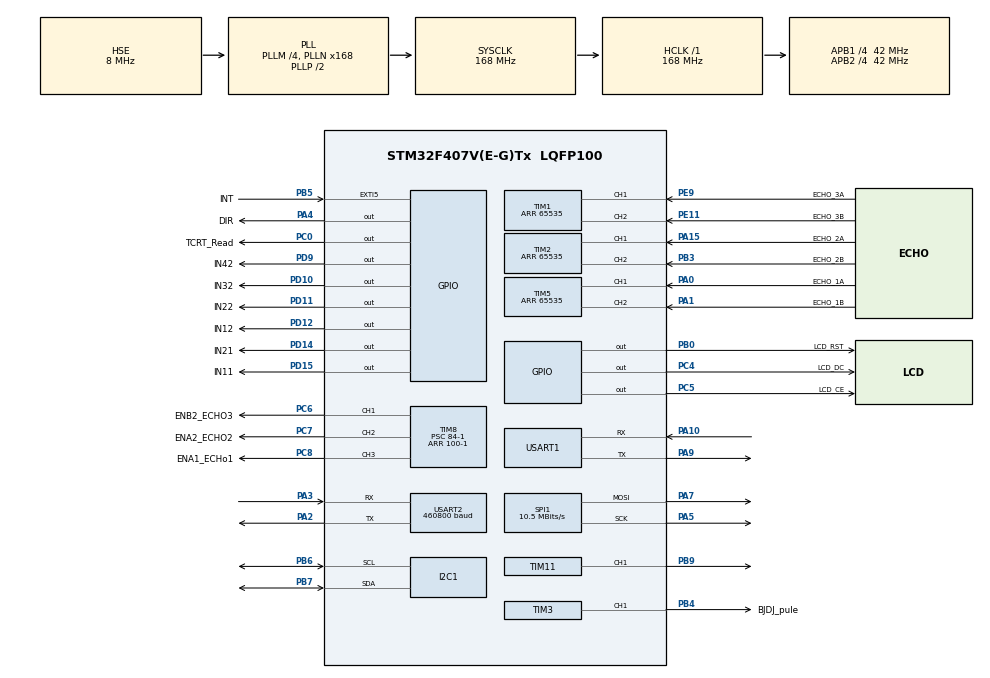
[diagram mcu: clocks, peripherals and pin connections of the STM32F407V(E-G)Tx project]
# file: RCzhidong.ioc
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Dma.Request0=SPI1_TX
Dma.Request1=USART2_RX
Dma.Request2=USART2_TX
Dma.SPI1_TX.0.Direction=DMA_MEMORY_TO_PERIPH
Dma.SPI1_TX.0.FIFOMode=DMA_FIFOMODE_DISABLE
Dma.SPI1_TX.0.Instance=DMA2_Stream3
Dma.SPI1_TX.0.MemDataAlignment=DMA_MDATAALIGN_BYTE
Dma.SPI1_TX.0.MemInc=DMA_MINC_ENABLE
Dma.SPI1_TX.0.Mode=DMA_NORMAL
Dma.SPI1_TX.0.PeriphDataAlignment=DMA_PDATAALIGN_BYTE
Dma.SPI1_TX.0.PeriphInc=DMA_PINC_DISABLE
Dma.SPI1_TX.0.Priority=DMA_PRIORITY_HIGH
Dma.USART2_RX.1.Direction=DMA_PERIPH_TO_MEMORY
Dma.USART2_RX.1.FIFOMode=DMA_FIFOMODE_DISABLE
Dma.USART2_RX.1.Instance=DMA1_Stream5
Dma.USART2_RX.1.MemDataAlignment=DMA_MDATAALIGN_BYTE
Dma.USART2_RX.1.MemInc=DMA_MINC_ENABLE
Dma.USART2_RX.1.Mode=DMA_CIRCULAR
Dma.USART2_RX.1.PeriphDataAlignment=DMA_PDATAALIGN_BYTE
Dma.USART2_RX.1.PeriphInc=DMA_PINC_DISABLE
Dma.USART2_RX.1.Priority=DMA_PRIORITY_HIGH
Dma.USART2_TX.2.Direction=DMA_MEMORY_TO_PERIPH
Dma.USART2_TX.2.FIFOMode=DMA_FIFOMODE_DISABLE
Dma.USART2_TX.2.Instance=DMA1_Stream6
Dma.USART2_TX.2.MemDataAlignment=DMA_MDATAALIGN_BYTE
Dma.USART2_TX.2.MemInc=DMA_MINC_ENABLE
Dma.USART2_TX.2.Mode=DMA_NORMAL
Dma.USART2_TX.2.PeriphDataAlignment=DMA_PDATAALIGN_BYTE
Dma.USART2_TX.2.PeriphInc=DMA_PINC_DISABLE
Dma.USART2_TX.2.Priority=DMA_PRIORITY_HIGH
FREERTOS.BinarySemaphores01=SPD_over,Dynamic,NULL
FREERTOS.INCLUDE_vTaskDelayUntil=1
FREERTOS.Tasks01=defaultTask,0,128,StartDefaultTask,Default,NULL
FREERTOS.configUSE_COUNTING_SEMAPHORES=1
I2C1.I2C_Mode=I2C_Fast
Mcu.Family=STM32F4
Mcu.Name=STM32F407V(E-G)Tx
Mcu.Package=LQFP100
NVIC.DMA1_Stream5_IRQn=true\:5\:0\:false\:false\:true\:true\:false
NVIC.DMA1_Stream6_IRQn=true\:5\:0\:false\:false\:true\:true\:false
NVIC.DMA2_Stream3_IRQn=true\:5\:0\:false\:false\:true\:true\:false
NVIC.EXTI9_5_IRQn=true\:5\:0\:true\:false\:true\:true\:true
NVIC.PriorityGroup=NVIC_PRIORITYGROUP_4
NVIC.TIM4_IRQn=true\:5\:0\:true\:false\:true\:true\:true
NVIC.TIM6_DAC_IRQn=true\:5\:0\:true\:false\:true\:true\:true
NVIC.TIM8_TRG_COM_TIM14_IRQn=true\:0\:0\:false\:false\:true\:false\:false
NVIC.TimeBase=TIM8_TRG_COM_TIM14_IRQn
NVIC.TimeBaseIP=TIM14
NVIC.USART2_IRQn=true\:5\:0\:false\:false\:true\:true\:true
PA0-WKUP.GPIO_Label=ECHO_1A
PA0-WKUP.GPIO_ModeDefaultPP=GPIO_MODE_AF_OD
PA0-WKUP.Signal=S_TIM5_CH1
PA1.GPIO_Label=ECHO_1B
PA1.GPIO_ModeDefaultPP=GPIO_MODE_AF_OD
PA1.Signal=S_TIM5_CH2
PA10.Mode=Asynchronous
PA10.Signal=USART1_RX
PA13.Mode=Serial_Wire
PA13.Signal=SYS_JTMS-SWDIO
PA14.Mode=Serial_Wire
PA14.Signal=SYS_JTCK-SWCLK
PA15.GPIO_Label=ECHO_2A
PA15.Signal=S_TIM2_CH1_ETR
PA2.Mode=Asynchronous
PA2.Signal=USART2_TX
PA3.Mode=Asynchronous
PA3.Signal=USART2_RX
PA4.GPIO_Label=DIR
PA4.Signal=GPIO_Output
PA5.Mode=TX_Only_Simplex_Unidirect_Master
PA5.Signal=SPI1_SCK
PA7.Mode=TX_Only_Simplex_Unidirect_Master
PA7.Signal=SPI1_MOSI
PA9.Mode=Asynchronous
PA9.Signal=USART1_TX
PB0.GPIO_Label=LCD_RST
PB0.GPIO_Speed=GPIO_SPEED_FREQ_LOW
PB0.Signal=GPIO_Output
PB3.GPIO_Label=ECHO_2B
PB3.Signal=S_TIM2_CH2
PB4.GPIO_Label=BJDJ_pule
PB4.Signal=S_TIM3_CH1
PB5.GPIO_Label=INT
PB5.GPIO_ModeDefaultEXTI=GPIO_MODE_IT_RISING
PB5.GPIO_PuPd=GPIO_PULLUP
PB5.Signal=GPXTI5
PB6.GPIO_PuPdOD=GPIO_PULLUP
PB6.Mode=I2C
PB6.Signal=I2C1_SCL
PB7.GPIO_PuPdOD=GPIO_PULLUP
PB7.Mode=I2C
PB7.Signal=I2C1_SDA
PB9.GPIO_Speed=GPIO_SPEED_FREQ_LOW
PB9.Signal=S_TIM11_CH1
PC0.GPIO_Label=TCRT_Read
PC0.Signal=GPIO_Output
PC14-OSC32_IN.Mode=LSE-External-Oscillator
PC14-OSC32_IN.Signal=RCC_OSC32_IN
PC15-OSC32_OUT.Mode=LSE-External-Oscillator
PC15-OSC32_OUT.Signal=RCC_OSC32_OUT
PC4.GPIO_Label=LCD_DC
PC4.GPIO_Speed=GPIO_SPEED_FREQ_VERY_HIGH
PC4.Signal=GPIO_Output
PC5.GPIO_Label=LCD_CE
PC5.GPIO_Speed=GPIO_SPEED_FREQ_VERY_HIGH
PC5.Signal=GPIO_Output
PC6.GPIO_Label=ENB2_ECHO3
PC6.GPIO_ModeDefaultPP=GPIO_MODE_AF_OD
PC6.Signal=S_TIM8_CH1
PC7.GPIO_Label=ENA2_ECHO2
PC7.GPIO_ModeDefaultPP=GPIO_MODE_AF_OD
PC7.Signal=S_TIM8_CH2
PC8.GPIO_Label=ENA1_ECHo1
PC8.GPIO_ModeDefaultPP=GPIO_MODE_AF_OD
PC8.Signal=S_TIM8_CH3
PD10.GPIO_Label=IN32
PD10.GPIO_ModeDefaultOutputPP=GPIO_MODE_OUTPUT_OD
PD10.Signal=GPIO_Output
PD11.GPIO_Label=IN22
PD11.GPIO_ModeDefaultOutputPP=GPIO_MODE_OUTPUT_OD
PD11.Signal=GPIO_Output
PD12.GPIO_Label=IN12
PD12.GPIO_ModeDefaultOutputPP=GPIO_MODE_OUTPUT_OD
PD12.Signal=GPIO_Output
PD14.GPIO_Label=IN21
PD14.GPIO_ModeDefaultOutputPP=GPIO_MODE_OUTPUT_OD
PD14.Signal=GPIO_Output
PD15.GPIO_Label=IN11
PD15.GPIO_ModeDefaultOutputPP=GPIO_MODE_OUTPUT_OD
PD15.Signal=GPIO_Output
PD9.GPIO_Label=IN42
PD9.GPIO_ModeDefaultOutputPP=GPIO_MODE_OUTPUT_OD
PD9.Signal=GPIO_Output
PE11.GPIO_Label=ECHO_3B
PE11.GPIO_ModeDefaultPP=GPIO_MODE_AF_OD
PE11.Signal=S_TIM1_CH2
PE9.GPIO_Label=ECHO_3A
PE9.GPIO_ModeDefaultPP=GPIO_MODE_AF_OD
PE9.Signal=S_TIM1_CH1
PH0-OSC_IN.Mode=HSE-External-Oscillator
PH0-OSC_IN.Signal=RCC_OSC_IN
PH1-OSC_OUT.Mode=HSE-External-Oscillator
PH1-OSC_OUT.Signal=RCC_OSC_OUT
ProjectManager.HeapSize=0x200
ProjectManager.StackSize=0x400
ProjectManager.TargetToolchain=MDK-ARM V5
RCC.48MHZClocksFreq_Value=84000000
RCC.AHBFreq_Value=168000000
RCC.APB1CLKDivider=RCC_HCLK_DIV4
RCC.APB1Freq_Value=42000000
RCC.APB1TimFreq_Value=84000000
RCC.APB2CLKDivider=RCC_HCLK_DIV4
RCC.APB2Freq_Value=42000000
RCC.APB2TimFreq_Value=84000000
RCC.CortexFreq_Value=168000000
RCC.HCLKFreq_Value=168000000
RCC.HSE_VALUE=8000000
RCC.HSI_VALUE=16000000
RCC.LSE_Timout=3000
RCC.PLLM=4
RCC.PLLN=168
RCC.PLLSourceVirtual=RCC_PLLSOURCE_HSE
RCC.RCC_RTC_Clock_Source=RCC_RTCCLKSOURCE_LSE
RCC.RCC_RTC_Clock_SourceVirtual=RCC_RTCCLKSOURCE_LSE
RCC.SYSCLKFreq_VALUE=168000000
RCC.SYSCLKSource=RCC_SYSCLKSOURCE_PLLCLK
RCC.VCOOutputFreq_Value=336000000
SH.S_TIM11_CH1.0=TIM11_CH1,PWM Generation1 CH1
SH.S_TIM1_CH1.0=TIM1_CH1,Encoder_Interface
SH.S_TIM1_CH2.0=TIM1_CH2,Encoder_Interface
SH.S_TIM2_CH1_ETR.0=TIM2_CH1,Encoder_Interface
SH.S_TIM2_CH2.0=TIM2_CH2,Encoder_Interface
SH.S_TIM3_CH1.0=TIM3_CH1,PWM Generation1 CH1
SH.S_TIM5_CH1.0=TIM5_CH1,Encoder_Interface
SH.S_TIM5_CH2.0=TIM5_CH2,Encoder_Interface
SH.S_TIM8_CH1.0=TIM8_CH1,PWM Generation1 CH1
SH.S_TIM8_CH2.0=TIM8_CH2,PWM Generation2 CH2
SH.S_TIM8_CH3.0=TIM8_CH3,PWM Generation3 CH3
SPI1.BaudRatePrescaler=SPI_BAUDRATEPRESCALER_4
SPI1.CalculateBaudRate=10.5 MBits/s
SPI1.Direction=SPI_DIRECTION_2LINES
SPI1.Mode=SPI_MODE_MASTER
SPI1.VirtualType=VM_MASTER
TIM1.EncoderMode=TIM_ENCODERMODE_TI1
TIM1.IC1Filter=4
TIM1.IC2Filter=4
TIM1.Period=65535
TIM11.Channel=TIM_CHANNEL_1
TIM11.Period=20000-1
TIM11.Prescaler=84-1
TIM11.Pulse=1000
TIM2.IC1Filter=4
TIM2.IC2Filter=4
TIM2.Period=65535
TIM3.Channel-PWM\ Generation1\ CH1=TIM_CHANNEL_1
TIM3.Prescaler=84-1
TIM3.TIM_MasterOutputTrigger=TIM_TRGO_UPDATE
TIM3.TIM_MasterSlaveMode=TIM_MASTERSLAVEMODE_ENABLE
TIM4.Prescaler=0
TIM4.TIM_MasterOutputTrigger=TIM_TRGO_RESET
TIM4.TIM_MasterSlaveMode=TIM_MASTERSLAVEMODE_DISABLE
TIM5.IC1Filter=4
TIM5.IC2Filter=4
TIM5.Period=65535
TIM6.Period=5000-1
TIM6.Prescaler=840-1
TIM8.Channel-PWM\ Generation1\ CH1=TIM_CHANNEL_1
TIM8.Channel-PWM\ Generation2\ CH2=TIM_CHANNEL_2
TIM8.Channel-PWM\ Generation3\ CH3=TIM_CHANNEL_3
TIM8.Period=100-1
TIM8.Prescaler=84-1
TIM8.Pulse-PWM\ Generation1\ CH1=100
TIM8.Pulse-PWM\ Generation2\ CH2=100
TIM8.Pulse-PWM\ Generation3\ CH3=100
USART1.VirtualMode=VM_ASYNC
USART2.BaudRate=460800
USART2.VirtualMode=VM_ASYNC
USART2.WordLength=WORDLENGTH_8B
VP_FREERTOS_VS_ENABLE.Mode=Enabled
VP_SYS_VS_tim14.Mode=TIM14
VP_TIM11_VS_ClockSourceINT.Mode=Enable_Timer
VP_TIM4_VS_ClockSourceITR.Mode=TriggerSource_ITR2
VP_TIM4_VS_ControllerModeClock.Mode=Clock Mode
VP_TIM6_VS_ClockSourceINT.Mode=Enable_Timer
board=RCzhidong

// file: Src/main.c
/**
  ******************************************************************************
  * @file           : main.c
  * @brief          : Main program body
  ******************************************************************************
  * This notice applies to any and all portions of this file
  * that are not between comment pairs USER CODE BEGIN and
  * USER CODE END. Other portions of this file, whether
  * inserted by the user or by software development tools
  * are owned by their respective copyright owners.
  *
  * Copyright (c) 2018 STMicroelectronics International N.V.
  * All rights reserved.
  *
  * Redistribution and use in source and binary forms, with or without
  * modification, are permitted, provided that the following conditions are met:
  *
  * 1. Redistribution of source code must retain the above copyright notice,
  *    this list of conditions and the following disclaimer.
  * 2. Redistributions in binary form must reproduce the above copyright notice,
  *    this list of conditions and the following disclaimer in the documentation
  *    and/or other materials provided with the distribution.
  * 3. Neither the name of STMicroelectronics nor the names of other
  *    contributors to this software may be used to endorse or promote products
  *    derived from this software without specific written permission.
  * 4. This software, including modifications and/or derivative works of this
  *    software, must execute solely and exclusively on microcontroller or
  *    microprocessor devices manufactured by or for STMicroelectronics.
  * 5. Redistribution and use of this software other than as permitted under
  *    this license is void and will automatically terminate your rights under
  *    this license.
  *
  * THIS SOFTWARE IS PROVIDED BY STMICROELECTRONICS AND CONTRIBUTORS "AS IS"
  * AND ANY EXPRESS, IMPLIED OR STATUTORY WARRANTIES, INCLUDING, BUT NOT
  * LIMITED TO, THE IMPLIED WARRANTIES OF MERCHANTABILITY, FITNESS FOR A
  * PARTICULAR PURPOSE AND NON-INFRINGEMENT OF THIRD PARTY INTELLECTUAL PROPERTY
  * RIGHTS ARE DISCLAIMED TO THE FULLEST EXTENT PERMITTED BY LAW. IN NO EVENT
  * SHALL STMICROELECTRONICS OR CONTRIBUTORS BE LIABLE FOR ANY DIRECT, INDIRECT,
  * INCIDENTAL, SPECIAL, EXEMPLARY, OR CONSEQUENTIAL DAMAGES (INCLUDING, BUT NOT
  * LIMITED TO, PROCUREMENT OF SUBSTITUTE GOODS OR SERVICES; LOSS OF USE, DATA,
  * OR PROFITS; OR BUSINESS INTERRUPTION) HOWEVER CAUSED AND ON ANY THEORY OF
  * LIABILITY, WHETHER IN CONTRACT, STRICT LIABILITY, OR TORT (INCLUDING
  * NEGLIGENCE OR OTHERWISE) ARISING IN ANY WAY OUT OF THE USE OF THIS SOFTWARE,
  * EVEN IF ADVISED OF THE POSSIBILITY OF SUCH DAMAGE.
  *
  ******************************************************************************
  */
#include "main.h"
#include "stm32f4xx_hal.h"
#include "cmsis_os.h"

/* USER CODE BEGIN Includes */
#include "nokia_5110.h"
#include "bmp_pixel.h"
#include "Moto.h"
//#include "pidcontoller.h"
//#include "oled.h"
#include "bmp.h"
#include "Xunji.h"
#include "BJDJ.h"
#include "mpu6050.h"
/* USER CODE END Includes */

I2C_HandleTypeDef hi2c1;

SPI_HandleTypeDef hspi1;
DMA_HandleTypeDef hdma_spi1_tx;

TIM_HandleTypeDef htim1;
TIM_HandleTypeDef htim2;
TIM_HandleTypeDef htim3;
TIM_HandleTypeDef htim4;
TIM_HandleTypeDef htim5;
TIM_HandleTypeDef htim6;
TIM_HandleTypeDef htim8;
TIM_HandleTypeDef htim11;

UART_HandleTypeDef huart1;
UART_HandleTypeDef huart2;
DMA_HandleTypeDef hdma_usart2_rx;
DMA_HandleTypeDef hdma_usart2_tx;

osThreadId defaultTaskHandle;
osSemaphoreId SPD_overHandle;

/* USER CODE BEGIN PV */
/* Private variables ---------------------------------------------------------*/
#ifdef __GNUC__
/* With GCC, small printf (option LD Linker->Libraries->Small printf
   set to 'Yes') calls __io_putchar() */
#define PUTCHAR_PROTOTYPE int __io_putchar(int ch)
#else
#define PUTCHAR_PROTOTYPE int fputc(int ch, FILE *f)
#endif /* __GNUC__ */

int fputc(int ch, FILE *f)

{
		 while(HAL_UART_GetState(&huart1) == HAL_UART_STATE_BUSY_TX){}
		 HAL_UART_Transmit(&huart1, (uint8_t *)&ch, 1, 100);
		 return ch;
}

//大部分变量存放在CCMRAM！！！！！！

//#define CCMRAM  __attribute__((at(CCMDATARAM_BASE))) //使用64KB CCMRAM
//#define CCMRAM  __attribute__((section("ccmram")))

//使用64KB CCMRAM ！！！！ 在RCzhidong.sct文件中
//  CCMRAM 0x10008000 0x000008000 {
//	  heap_4.o(+RW +ZI)
//	  port.o(+RW +ZI)
//	  tasks.o(+RW +ZI)
//  }

osSemaphoreId DMP_overHandle;

osThreadId XunjiTaskHandle;
osThreadId MotoTaskHandle;
osThreadId mpu6050TaskHandle;

extern osPoolId  mpool;
extern osMessageQId MotoQueues; //电机编码器数值队列 spd1 spd2 spd3
extern osMessageQId MotoSetQueues; //电机速度数值设置队列 setpiont1
/* USER CODE END PV */

void SystemClock_Config(void);
static void MX_GPIO_Init(void);
static void MX_DMA_Init(void);
static void MX_SPI1_Init(void);
static void MX_TIM11_Init(void);
static void MX_TIM4_Init(void);
static void MX_TIM1_Init(void);
static void MX_TIM5_Init(void);
static void MX_TIM3_Init(void);
static void MX_TIM8_Init(void);
static void MX_TIM2_Init(void);
static void MX_TIM6_Init(void);
static void MX_USART1_UART_Init(void);
static void MX_I2C1_Init(void);
static void MX_USART2_UART_Init(void);
void StartDefaultTask(void const * argument);

void HAL_TIM_MspPostInit(TIM_HandleTypeDef *htim);

/* USER CODE BEGIN PFP */
/* Private function prototypes -----------------------------------------------*/
extern void XunjiTask(void const * argument);
extern void MotoTask(void const * argument);
extern void mpu6050Task(void const * argument);
/* USER CODE END PFP */

int main(void)
{
  /* USER CODE BEGIN 1 */
  PulseNum_Over = 0;

  /* USER CODE END 1 */

  /* MCU Configuration----------------------------------------------------------*/

  /* Reset of all peripherals, Initializes the Flash interface and the Systick. */
  HAL_Init();

  /* Configure the system clock */
  SystemClock_Config();

  /* Initialize all configured peripherals */
  MX_GPIO_Init();
  MX_DMA_Init();
  MX_SPI1_Init();
  MX_TIM11_Init();
  MX_TIM4_Init();
  MX_TIM1_Init();
  MX_TIM5_Init();
  MX_TIM3_Init();
  MX_TIM8_Init();
  MX_TIM2_Init();
  MX_TIM6_Init();
  MX_USART1_UART_Init();
  MX_I2C1_Init();
  MX_USART2_UART_Init();

  /* Create the semaphores(s) */
  /* definition and creation of SPD_over */
  osSemaphoreDef(SPD_over);
  SPD_overHandle = osSemaphoreCreate(osSemaphore(SPD_over), 1);

  /* USER CODE BEGIN RTOS_SEMAPHORES */
  /* add semaphores, ... */
  	osSemaphoreDef(DMP_over);
	DMP_overHandle = osSemaphoreCreate(osSemaphore(DMP_over), 1);
  /* USER CODE END RTOS_SEMAPHORES */

  /* Create the thread(s) */
  /* definition and creation of defaultTask */
  osThreadDef(defaultTask, StartDefaultTask, osPriorityNormal, 0, 128);
  defaultTaskHandle = osThreadCreate(osThread(defaultTask), NULL);

  /* USER CODE BEGIN RTOS_THREADS */
  /* add threads, ... */
//  osThreadDef(XunjiTask, XunjiTask, osPriorityNormal, 0, 256);
//  XunjiTaskHandle = osThreadCreate(osThread(XunjiTask), NULL);
//  osThreadDef(MotoTask, MotoTask, osPriorityNormal, 0, 256);
//  MotoTaskHandle = osThreadCreate(osThread(MotoTask), NULL);
//  osThreadDef(mpu6050Task, mpu6050Task, osPriorityNormal, 0, 256);
//  mpu6050TaskHandle = osThreadCreate(osThread(mpu6050Task), NULL);
  /* USER CODE END RTOS_THREADS */

  /* Start scheduler */
  osKernelStart();

  /* We should never get here as control is now taken by the scheduler */

  /* Infinite loop */
  while (1)
  {

  }

}

void SystemClock_Config(void)
{

  RCC_OscInitTypeDef RCC_OscInitStruct;
  RCC_ClkInitTypeDef RCC_ClkInitStruct;

    /**Configure the main internal regulator output voltage
    */
  __HAL_RCC_PWR_CLK_ENABLE();

  __HAL_PWR_VOLTAGESCALING_CONFIG(PWR_REGULATOR_VOLTAGE_SCALE1);

    /**Initializes the CPU, AHB and APB busses clocks
    */
  RCC_OscInitStruct.OscillatorType = RCC_OSCILLATORTYPE_HSE;
  RCC_OscInitStruct.HSEState = RCC_HSE_ON;
  RCC_OscInitStruct.PLL.PLLState = RCC_PLL_ON;
  RCC_OscInitStruct.PLL.PLLSource = RCC_PLLSOURCE_HSE;
  RCC_OscInitStruct.PLL.PLLM = 4;
  RCC_OscInitStruct.PLL.PLLN = 168;
  RCC_OscInitStruct.PLL.PLLP = RCC_PLLP_DIV2;
  RCC_OscInitStruct.PLL.PLLQ = 4;
  if (HAL_RCC_OscConfig(&RCC_OscInitStruct) != HAL_OK)
  {
    _Error_Handler(__FILE__, __LINE__);
  }

    /**Initializes the CPU, AHB and APB busses clocks
    */
  RCC_ClkInitStruct.ClockType = RCC_CLOCKTYPE_HCLK|RCC_CLOCKTYPE_SYSCLK
                              |RCC_CLOCKTYPE_PCLK1|RCC_CLOCKTYPE_PCLK2;
  RCC_ClkInitStruct.SYSCLKSource = RCC_SYSCLKSOURCE_PLLCLK;
  RCC_ClkInitStruct.AHBCLKDivider = RCC_SYSCLK_DIV1;
  RCC_ClkInitStruct.APB1CLKDivider = RCC_HCLK_DIV4;
  RCC_ClkInitStruct.APB2CLKDivider = RCC_HCLK_DIV4;

  if (HAL_RCC_ClockConfig(&RCC_ClkInitStruct, FLASH_LATENCY_5) != HAL_OK)
  {
    _Error_Handler(__FILE__, __LINE__);
  }

    /**Configure the Systick interrupt time
    */
  HAL_SYSTICK_Config(HAL_RCC_GetHCLKFreq()/1000);

    /**Configure the Systick
    */
  HAL_SYSTICK_CLKSourceConfig(SYSTICK_CLKSOURCE_HCLK);

  /* SysTick_IRQn interrupt configuration */
  HAL_NVIC_SetPriority(SysTick_IRQn, 15, 0);
}

/* I2C1 init function */
static void MX_I2C1_Init(void)
{

  hi2c1.Instance = I2C1;
  hi2c1.Init.ClockSpeed = 400000;
  hi2c1.Init.DutyCycle = I2C_DUTYCYCLE_2;
  hi2c1.Init.OwnAddress1 = 0;
  hi2c1.Init.AddressingMode = I2C_ADDRESSINGMODE_7BIT;
  hi2c1.Init.DualAddressMode = I2C_DUALADDRESS_DISABLE;
  hi2c1.Init.OwnAddress2 = 0;
  hi2c1.Init.GeneralCallMode = I2C_GENERALCALL_DISABLE;
  hi2c1.Init.NoStretchMode = I2C_NOSTRETCH_DISABLE;
  if (HAL_I2C_Init(&hi2c1) != HAL_OK)
  {
    _Error_Handler(__FILE__, __LINE__);
  }

}

/* SPI1 init function */
static void MX_SPI1_Init(void)
{

  /* SPI1 parameter configuration*/
  hspi1.Instance = SPI1;
  hspi1.Init.Mode = SPI_MODE_MASTER;
  hspi1.Init.Direction = SPI_DIRECTION_2LINES;
  hspi1.Init.DataSize = SPI_DATASIZE_8BIT;
  hspi1.Init.CLKPolarity = SPI_POLARITY_LOW;
  hspi1.Init.CLKPhase = SPI_PHASE_1EDGE;
  hspi1.Init.NSS = SPI_NSS_SOFT;
  hspi1.Init.BaudRatePrescaler = SPI_BAUDRATEPRESCALER_4;
  hspi1.Init.FirstBit = SPI_FIRSTBIT_MSB;
  hspi1.Init.TIMode = SPI_TIMODE_DISABLE;
  hspi1.Init.CRCCalculation = SPI_CRCCALCULATION_DISABLE;
  hspi1.Init.CRCPolynomial = 10;
  if (HAL_SPI_Init(&hspi1) != HAL_OK)
  {
    _Error_Handler(__FILE__, __LINE__);
  }

}

/* TIM1 init function */
static void MX_TIM1_Init(void)
{

  TIM_Encoder_InitTypeDef sConfig;
  TIM_MasterConfigTypeDef sMasterConfig;

  htim1.Instance = TIM1;
  htim1.Init.Prescaler = 0;
  htim1.Init.CounterMode = TIM_COUNTERMODE_UP;
  htim1.Init.Period = 65535;
  htim1.Init.ClockDivision = TIM_CLOCKDIVISION_DIV1;
  htim1.Init.RepetitionCounter = 0;
  sConfig.EncoderMode = TIM_ENCODERMODE_TI1;
  sConfig.IC1Polarity = TIM_ICPOLARITY_RISING;
  sConfig.IC1Selection = TIM_ICSELECTION_DIRECTTI;
  sConfig.IC1Prescaler = TIM_ICPSC_DIV1;
  sConfig.IC1Filter = 4;
  sConfig.IC2Polarity = TIM_ICPOLARITY_RISING;
  sConfig.IC2Selection = TIM_ICSELECTION_DIRECTTI;
  sConfig.IC2Prescaler = TIM_ICPSC_DIV1;
  sConfig.IC2Filter = 4;
  if (HAL_TIM_Encoder_Init(&htim1, &sConfig) != HAL_OK)
  {
    _Error_Handler(__FILE__, __LINE__);
  }

  sMasterConfig.MasterOutputTrigger = TIM_TRGO_RESET;
  sMasterConfig.MasterSlaveMode = TIM_MASTERSLAVEMODE_DISABLE;
  if (HAL_TIMEx_MasterConfigSynchronization(&htim1, &sMasterConfig) != HAL_OK)
  {
    _Error_Handler(__FILE__, __LINE__);
  }

}

/* TIM2 init function */
static void MX_TIM2_Init(void)
{

  TIM_Encoder_InitTypeDef sConfig;
  TIM_MasterConfigTypeDef sMasterConfig;

  htim2.Instance = TIM2;
  htim2.Init.Prescaler = 0;
  htim2.Init.CounterMode = TIM_COUNTERMODE_UP;
  htim2.Init.Period = 65535;
  htim2.Init.ClockDivision = TIM_CLOCKDIVISION_DIV1;
  sConfig.EncoderMode = TIM_ENCODERMODE_TI1;
  sConfig.IC1Polarity = TIM_ICPOLARITY_RISING;
  sConfig.IC1Selection = TIM_ICSELECTION_DIRECTTI;
  sConfig.IC1Prescaler = TIM_ICPSC_DIV1;
  sConfig.IC1Filter = 4;
  sConfig.IC2Polarity = TIM_ICPOLARITY_RISING;
  sConfig.IC2Selection = TIM_ICSELECTION_DIRECTTI;
  sConfig.IC2Prescaler = TIM_ICPSC_DIV1;
  sConfig.IC2Filter = 4;
  if (HAL_TIM_Encoder_Init(&htim2, &sConfig) != HAL_OK)
  {
    _Error_Handler(__FILE__, __LINE__);
  }

  sMasterConfig.MasterOutputTrigger = TIM_TRGO_RESET;
  sMasterConfig.MasterSlaveMode = TIM_MASTERSLAVEMODE_DISABLE;
  if (HAL_TIMEx_MasterConfigSynchronization(&htim2, &sMasterConfig) != HAL_OK)
  {
    _Error_Handler(__FILE__, __LINE__);
  }

}

/* TIM3 init function */
static void MX_TIM3_Init(void)
{

  TIM_MasterConfigTypeDef sMasterConfig;
  TIM_OC_InitTypeDef sConfigOC;

  htim3.Instance = TIM3;
  htim3.Init.Prescaler = 84-1;
  htim3.Init.CounterMode = TIM_COUNTERMODE_UP;
  htim3.Init.Period = 0;
  htim3.Init.ClockDivision = TIM_CLOCKDIVISION_DIV1;
  if (HAL_TIM_PWM_Init(&htim3) != HAL_OK)
  {
    _Error_Handler(__FILE__, __LINE__);
  }

  sMasterConfig.MasterOutputTrigger = TIM_TRGO_UPDATE;
  sMasterConfig.MasterSlaveMode = TIM_MASTERSLAVEMODE_ENABLE;
  if (HAL_TIMEx_MasterConfigSynchronization(&htim3, &sMasterConfig) != HAL_OK)
  {
    _Error_Handler(__FILE__, __LINE__);
  }

  sConfigOC.OCMode = TIM_OCMODE_PWM1;
  sConfigOC.Pulse = 0;
  sConfigOC.OCPolarity = TIM_OCPOLARITY_HIGH;
  sConfigOC.OCFastMode = TIM_OCFAST_DISABLE;
  if (HAL_TIM_PWM_ConfigChannel(&htim3, &sConfigOC, TIM_CHANNEL_1) != HAL_OK)
  {
    _Error_Handler(__FILE__, __LINE__);
  }

  HAL_TIM_MspPostInit(&htim3);

}

/* TIM4 init function */
static void MX_TIM4_Init(void)
{

  TIM_SlaveConfigTypeDef sSlaveConfig;
  TIM_MasterConfigTypeDef sMasterConfig;

  htim4.Instance = TIM4;
  htim4.Init.Prescaler = 0;
  htim4.Init.CounterMode = TIM_COUNTERMODE_UP;
  htim4.Init.Period = 0;
  htim4.Init.ClockDivision = TIM_CLOCKDIVISION_DIV1;
  if (HAL_TIM_Base_Init(&htim4) != HAL_OK)
  {
    _Error_Handler(__FILE__, __LINE__);
  }

  sSlaveConfig.SlaveMode = TIM_SLAVEMODE_EXTERNAL1;
  sSlaveConfig.InputTrigger = TIM_TS_ITR2;
  if (HAL_TIM_SlaveConfigSynchronization(&htim4, &sSlaveConfig) != HAL_OK)
  {
    _Error_Handler(__FILE__, __LINE__);
  }

  sMasterConfig.MasterOutputTrigger = TIM_TRGO_RESET;
  sMasterConfig.MasterSlaveMode = TIM_MASTERSLAVEMODE_DISABLE;
  if (HAL_TIMEx_MasterConfigSynchronization(&htim4, &sMasterConfig) != HAL_OK)
  {
    _Error_Handler(__FILE__, __LINE__);
  }

}

/* TIM5 init function */
static void MX_TIM5_Init(void)
{

  TIM_Encoder_InitTypeDef sConfig;
  TIM_MasterConfigTypeDef sMasterConfig;

  htim5.Instance = TIM5;
  htim5.Init.Prescaler = 0;
  htim5.Init.CounterMode = TIM_COUNTERMODE_UP;
  htim5.Init.Period = 65535;
  htim5.Init.ClockDivision = TIM_CLOCKDIVISION_DIV1;
  sConfig.EncoderMode = TIM_ENCODERMODE_TI1;
  sConfig.IC1Polarity = TIM_ICPOLARITY_RISING;
  sConfig.IC1Selection = TIM_ICSELECTION_DIRECTTI;
  sConfig.IC1Prescaler = TIM_ICPSC_DIV1;
  sConfig.IC1Filter = 4;
  sConfig.IC2Polarity = TIM_ICPOLARITY_RISING;
  sConfig.IC2Selection = TIM_ICSELECTION_DIRECTTI;
  sConfig.IC2Prescaler = TIM_ICPSC_DIV1;
  sConfig.IC2Filter = 4;
  if (HAL_TIM_Encoder_Init(&htim5, &sConfig) != HAL_OK)
  {
    _Error_Handler(__FILE__, __LINE__);
  }

  sMasterConfig.MasterOutputTrigger = TIM_TRGO_RESET;
  sMasterConfig.MasterSlaveMode = TIM_MASTERSLAVEMODE_DISABLE;
  if (HAL_TIMEx_MasterConfigSynchronization(&htim5, &sMasterConfig) != HAL_OK)
  {
    _Error_Handler(__FILE__, __LINE__);
  }

}

/* TIM6 init function */
static void MX_TIM6_Init(void)
{

  TIM_MasterConfigTypeDef sMasterConfig;

  htim6.Instance = TIM6;
  htim6.Init.Prescaler = 840-1;
  htim6.Init.CounterMode = TIM_COUNTERMODE_UP;
  htim6.Init.Period = 5000-1;
  if (HAL_TIM_Base_Init(&htim6) != HAL_OK)
  {
    _Error_Handler(__FILE__, __LINE__);
  }

  sMasterConfig.MasterOutputTrigger = TIM_TRGO_RESET;
  sMasterConfig.MasterSlaveMode = TIM_MASTERSLAVEMODE_DISABLE;
  if (HAL_TIMEx_MasterConfigSynchronization(&htim6, &sMasterConfig) != HAL_OK)
  {
    _Error_Handler(__FILE__, __LINE__);
  }

}

/* TIM8 init function */
static void MX_TIM8_Init(void)
{

  TIM_MasterConfigTypeDef sMasterConfig;
  TIM_OC_InitTypeDef sConfigOC;
  TIM_BreakDeadTimeConfigTypeDef sBreakDeadTimeConfig;

  htim8.Instance = TIM8;
  htim8.Init.Prescaler = 84-1;
  htim8.Init.CounterMode = TIM_COUNTERMODE_UP;
  htim8.Init.Period = 100-1;
  htim8.Init.ClockDivision = TIM_CLOCKDIVISION_DIV1;
  htim8.Init.RepetitionCounter = 0;
  if (HAL_TIM_PWM_Init(&htim8) != HAL_OK)
  {
    _Error_Handler(__FILE__, __LINE__);
  }

  sMasterConfig.MasterOutputTrigger = TIM_TRGO_RESET;
  sMasterConfig.MasterSlaveMode = TIM_MASTERSLAVEMODE_DISABLE;
  if (HAL_TIMEx_MasterConfigSynchronization(&htim8, &sMasterConfig) != HAL_OK)
  {
    _Error_Handler(__FILE__, __LINE__);
  }

  sConfigOC.OCMode = TIM_OCMODE_PWM1;
  sConfigOC.Pulse = 100;
  sConfigOC.OCPolarity = TIM_OCPOLARITY_HIGH;
  sConfigOC.OCNPolarity = TIM_OCNPOLARITY_HIGH;
  sConfigOC.OCFastMode = TIM_OCFAST_DISABLE;
  sConfigOC.OCIdleState = TIM_OCIDLESTATE_RESET;
  sConfigOC.OCNIdleState = TIM_OCNIDLESTATE_RESET;
  if (HAL_TIM_PWM_ConfigChannel(&htim8, &sConfigOC, TIM_CHANNEL_1) != HAL_OK)
  {
    _Error_Handler(__FILE__, __LINE__);
  }

  if (HAL_TIM_PWM_ConfigChannel(&htim8, &sConfigOC, TIM_CHANNEL_2) != HAL_OK)
  {
    _Error_Handler(__FILE__, __LINE__);
  }

  if (HAL_TIM_PWM_ConfigChannel(&htim8, &sConfigOC, TIM_CHANNEL_3) != HAL_OK)
  {
    _Error_Handler(__FILE__, __LINE__);
  }

  sBreakDeadTimeConfig.OffStateRunMode = TIM_OSSR_DISABLE;
  sBreakDeadTimeConfig.OffStateIDLEMode = TIM_OSSI_DISABLE;
  sBreakDeadTimeConfig.LockLevel = TIM_LOCKLEVEL_OFF;
  sBreakDeadTimeConfig.DeadTime = 0;
  sBreakDeadTimeConfig.BreakState = TIM_BREAK_DISABLE;
  sBreakDeadTimeConfig.BreakPolarity = TIM_BREAKPOLARITY_HIGH;
  sBreakDeadTimeConfig.AutomaticOutput = TIM_AUTOMATICOUTPUT_DISABLE;
  if (HAL_TIMEx_ConfigBreakDeadTime(&htim8, &sBreakDeadTimeConfig) != HAL_OK)
  {
    _Error_Handler(__FILE__, __LINE__);
  }

  HAL_TIM_MspPostInit(&htim8);

}

/* TIM11 init function */
static void MX_TIM11_Init(void)
{

  TIM_OC_InitTypeDef sConfigOC;

  htim11.Instance = TIM11;
  htim11.Init.Prescaler = 84-1;
  htim11.Init.CounterMode = TIM_COUNTERMODE_UP;
  htim11.Init.Period = 20000-1;
  htim11.Init.ClockDivision = TIM_CLOCKDIVISION_DIV1;
  if (HAL_TIM_Base_Init(&htim11) != HAL_OK)
  {
    _Error_Handler(__FILE__, __LINE__);
  }

  if (HAL_TIM_PWM_Init(&htim11) != HAL_OK)
  {
    _Error_Handler(__FILE__, __LINE__);
  }

  sConfigOC.OCMode = TIM_OCMODE_PWM1;
  sConfigOC.Pulse = 1000;
  sConfigOC.OCPolarity = TIM_OCPOLARITY_HIGH;
  sConfigOC.OCFastMode = TIM_OCFAST_DISABLE;
  if (HAL_TIM_PWM_ConfigChannel(&htim11, &sConfigOC, TIM_CHANNEL_1) != HAL_OK)
  {
    _Error_Handler(__FILE__, __LINE__);
  }

  HAL_TIM_MspPostInit(&htim11);

}

/* USART1 init function */
static void MX_USART1_UART_Init(void)
{

  huart1.Instance = USART1;
  huart1.Init.BaudRate = 115200;
  huart1.Init.WordLength = UART_WORDLENGTH_8B;
  huart1.Init.StopBits = UART_STOPBITS_1;
  huart1.Init.Parity = UART_PARITY_NONE;
  huart1.Init.Mode = UART_MODE_TX_RX;
  huart1.Init.HwFlowCtl = UART_HWCONTROL_NONE;
  huart1.Init.OverSampling = UART_OVERSAMPLING_16;
  if (HAL_UART_Init(&huart1) != HAL_OK)
  {
    _Error_Handler(__FILE__, __LINE__);
  }

}

/* USART2 init function */
static void MX_USART2_UART_Init(void)
{

  huart2.Instance = USART2;
  huart2.Init.BaudRate = 921600;
  huart2.Init.WordLength = UART_WORDLENGTH_8B;
  huart2.Init.StopBits = UART_STOPBITS_1;
  huart2.Init.Parity = UART_PARITY_NONE;
  huart2.Init.Mode = UART_MODE_TX_RX;
  huart2.Init.HwFlowCtl = UART_HWCONTROL_NONE;
  huart2.Init.OverSampling = UART_OVERSAMPLING_16;
  if (HAL_UART_Init(&huart2) != HAL_OK)
  {
    _Error_Handler(__FILE__, __LINE__);
  }

}

static void MX_DMA_Init(void)
{
  /* DMA controller clock enable */
  __HAL_RCC_DMA2_CLK_ENABLE();
  __HAL_RCC_DMA1_CLK_ENABLE();

  /* DMA interrupt init */
  /* DMA1_Stream5_IRQn interrupt configuration */
  HAL_NVIC_SetPriority(DMA1_Stream5_IRQn, 5, 0);
  HAL_NVIC_EnableIRQ(DMA1_Stream5_IRQn);
  /* DMA1_Stream6_IRQn interrupt configuration */
  HAL_NVIC_SetPriority(DMA1_Stream6_IRQn, 5, 0);
  HAL_NVIC_EnableIRQ(DMA1_Stream6_IRQn);
  /* DMA2_Stream3_IRQn interrupt configuration */
  HAL_NVIC_SetPriority(DMA2_Stream3_IRQn, 5, 0);
  HAL_NVIC_EnableIRQ(DMA2_Stream3_IRQn);

}

/** Configure pins as
        * Analog
        * Input
        * Output
        * EVENT_OUT
        * EXTI
*/
static void MX_GPIO_Init(void)
{

  GPIO_InitTypeDef GPIO_InitStruct;

  /* GPIO Ports Clock Enable */
  __HAL_RCC_GPIOC_CLK_ENABLE();
  __HAL_RCC_GPIOH_CLK_ENABLE();
  __HAL_RCC_GPIOA_CLK_ENABLE();
  __HAL_RCC_GPIOB_CLK_ENABLE();
  __HAL_RCC_GPIOE_CLK_ENABLE();
  __HAL_RCC_GPIOD_CLK_ENABLE();

  /*Configure GPIO pin Output Level */
  HAL_GPIO_WritePin(GPIOC, TCRT_Read_Pin|LCD_DC_Pin|LCD_CE_Pin, GPIO_PIN_RESET);

  /*Configure GPIO pin Output Level */
  HAL_GPIO_WritePin(DIR_GPIO_Port, DIR_Pin, GPIO_PIN_RESET);

  /*Configure GPIO pin Output Level */
  HAL_GPIO_WritePin(LCD_RST_GPIO_Port, LCD_RST_Pin, GPIO_PIN_RESET);

  /*Configure GPIO pin Output Level */
  HAL_GPIO_WritePin(GPIOD, IN42_Pin|IN32_Pin|IN22_Pin|IN12_Pin
                          |IN21_Pin|IN11_Pin, GPIO_PIN_RESET);

  /*Configure GPIO pin : TCRT_Read_Pin */
  GPIO_InitStruct.Pin = TCRT_Read_Pin;
  GPIO_InitStruct.Mode = GPIO_MODE_OUTPUT_PP;
  GPIO_InitStruct.Pull = GPIO_NOPULL;
  GPIO_InitStruct.Speed = GPIO_SPEED_FREQ_LOW;
  HAL_GPIO_Init(TCRT_Read_GPIO_Port, &GPIO_InitStruct);

  /*Configure GPIO pin : DIR_Pin */
  GPIO_InitStruct.Pin = DIR_Pin;
  GPIO_InitStruct.Mode = GPIO_MODE_OUTPUT_PP;
  GPIO_InitStruct.Pull = GPIO_NOPULL;
  GPIO_InitStruct.Speed = GPIO_SPEED_FREQ_LOW;
  HAL_GPIO_Init(DIR_GPIO_Port, &GPIO_InitStruct);

  /*Configure GPIO pins : LCD_DC_Pin LCD_CE_Pin */
  GPIO_InitStruct.Pin = LCD_DC_Pin|LCD_CE_Pin;
  GPIO_InitStruct.Mode = GPIO_MODE_OUTPUT_PP;
  GPIO_InitStruct.Pull = GPIO_NOPULL;
  GPIO_InitStruct.Speed = GPIO_SPEED_FREQ_VERY_HIGH;
  HAL_GPIO_Init(GPIOC, &GPIO_InitStruct);

  /*Configure GPIO pin : LCD_RST_Pin */
  GPIO_InitStruct.Pin = LCD_RST_Pin;
  GPIO_InitStruct.Mode = GPIO_MODE_OUTPUT_PP;
  GPIO_InitStruct.Pull = GPIO_NOPULL;
  GPIO_InitStruct.Speed = GPIO_SPEED_FREQ_LOW;
  HAL_GPIO_Init(LCD_RST_GPIO_Port, &GPIO_InitStruct);

  /*Configure GPIO pins : IN42_Pin IN32_Pin IN22_Pin IN12_Pin
                           IN21_Pin IN11_Pin */
  GPIO_InitStruct.Pin = IN42_Pin|IN32_Pin|IN22_Pin|IN12_Pin
                          |IN21_Pin|IN11_Pin;
  GPIO_InitStruct.Mode = GPIO_MODE_OUTPUT_OD;
  GPIO_InitStruct.Pull = GPIO_NOPULL;
  GPIO_InitStruct.Speed = GPIO_SPEED_FREQ_LOW;
  HAL_GPIO_Init(GPIOD, &GPIO_InitStruct);

  /*Configure GPIO pin : INT_Pin */
  GPIO_InitStruct.Pin = INT_Pin;
  GPIO_InitStruct.Mode = GPIO_MODE_IT_RISING;
  GPIO_InitStruct.Pull = GPIO_PULLUP;
  HAL_GPIO_Init(INT_GPIO_Port, &GPIO_InitStruct);

  /* EXTI interrupt init*/
  HAL_NVIC_SetPriority(EXTI9_5_IRQn, 5, 0);
  HAL_NVIC_EnableIRQ(EXTI9_5_IRQn);

}

/* USER CODE BEGIN 4 */
#define MPU6050
/* USER CODE END 4 */

/* StartDefaultTask function */
void StartDefaultTask(void const * argument)
{

  /* USER CODE BEGIN 5 */
  /* Infinite loop */
	LCD_init(); //初始化液晶
	LCD_clear();
   LCD_write_chinese_string(12,4,12,4,0,5);
#ifdef MPU6050
	HAL_NVIC_DisableIRQ(EXTI9_5_IRQn);
	DMP_Init();
	osDelay(500);
	osSemaphoreDef(DMP_over);
	DMP_overHandle = osSemaphoreCreate(osSemaphore(DMP_over), 1);

  osThreadDef(mpu6050Task, mpu6050Task, osPriorityHigh, 0, 256);
  mpu6050TaskHandle = osThreadCreate(osThread(mpu6050Task),NULL);
  osDelay(8000);
#endif
  osThreadDef(XunjiTask, XunjiTask, osPriorityRealtime, 0, 256);
  XunjiTaskHandle = osThreadCreate(osThread(XunjiTask), NULL);
  osDelay(10);
  osThreadDef(MotoTask, MotoTask, osPriorityHigh, 0, 256);
  MotoTaskHandle = osThreadCreate(osThread(MotoTask), NULL);
  osDelay(500);

  static char temp[14];
  for(;;)
  {
	  //for(uint8_t i = 0;i<14;i++) temp[i] = ' ';
		//LCD_write_english_string(7*6,0,"       ");
	   sprintf(temp, "Yaw:% .3f  " , Yaw);
		LCD_write_english_string(0,0,temp);

		LCD_write_english_string(0,1," M1   M2   M3");
		sprintf(temp, "% 4d % 4d % 4d" , spd.SPD1,spd.SPD2,spd.SPD3);
		LCD_write_english_string(0,2,temp);
      sprintf(temp, "% 4d % 4d % 4d" , pid1.SetPoint,pid2.SetPoint,pid3.SetPoint);
	   LCD_write_english_string(0,3,temp);

		//LCD_write_english_string(0,3," Nokia5110 LCD");
		//LCD_write_byte(0x0d, 0); //屏幕颜色反转
		LCD_write_chinese_string(12,4,12,4,0,5);
	 //test_BJDJ();
    osDelay(200);
  }
  /* USER CODE END 5 */
}

void HAL_TIM_PeriodElapsedCallback(TIM_HandleTypeDef *htim)
{
  if (htim->Instance == TIM14) {
    HAL_IncTick();
  }
  /* USER CODE BEGIN Callback 1 */
	else if(htim->Instance == TIM6)
	{
		SPD *MotoSpdX;
		MotoSpdX = osPoolAlloc(mpool); //系统分配内存 存储数据，跳出中断数据不丢失
		MotoSpdX->SPD1 = __HAL_TIM_GetCounter(&htim5);
		MotoSpdX->SPD2 = __HAL_TIM_GetCounter(&htim2);
		MotoSpdX->SPD3 = __HAL_TIM_GetCounter(&htim1);
		__HAL_TIM_SetCounter(&htim1,0);
		__HAL_TIM_SetCounter(&htim2,0);
		__HAL_TIM_SetCounter(&htim5,0); //清零计数

		osMessagePut(MotoQueues, (uint32_t)MotoSpdX, 100);

		//if(SPD_overHandle!=NULL) osSemaphoreRelease(SPD_overHandle); //释放二值信号量
//			spd.PWM_Duty1 = LocPIDCalc(spd.SPD1*40/209.0,&pid1);
//			spd.PWM_Duty2 = LocPIDCalc(spd.SPD2*40/209.0,&pid2);
//			spd.PWM_Duty3 = LocPIDCalc(spd.SPD3*40/209.0,&pid3);
		//EncoderTime = 10;

	}
	else if(htim->Instance == TIM4)
	{
		PulseNum_Over = 0;
		HAL_TIM_Base_Stop_IT(&htim4);
	}

  /* USER CODE END Callback 1 */
}

void _Error_Handler(char *file, int line)
{
  while(1)
  {
  }
}

/************************ (C) COPYRIGHT STMicroelectronics *****END OF FILE****/
